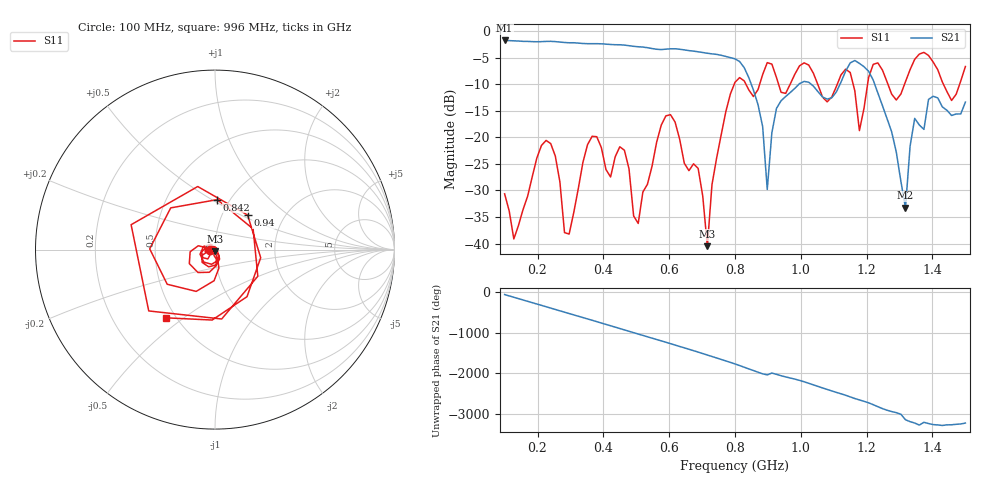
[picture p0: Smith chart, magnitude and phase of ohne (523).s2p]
! NanoVNA-App
! Date: 2025-09-25 14:24:52
! Start: 100MHz Stop: 1,5GHz Points: 101
! S-Parameter data: F S11 S21 S12 S22
# Hz S RI R 50
!  Frequency  S11_Real  S11_Imag  S21_Real  S21_Imag  S12_Real  S12_Imag  S22_Real  S22_Imag
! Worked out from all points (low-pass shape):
!   101 points, 100 MHz to 1.5 GHz, reference 50 ohm
!   highest |S21| = -1.79 dB at 100 MHz (marker M1); lowest = -33.3 dB at 1.318 GHz (marker M2)
!   |S21| within 3 dB of the highest: start of sweep to 771.6 MHz
!   lowest |S11| = -40.5 dB at 716 MHz (marker M3), VSWR 1.02, Z = 49.8 - j0.933 ohm
!   |S11| at or under -10 dB: start of sweep to 797.8 MHz; 833 MHz to 875.1 MHz (42.12 MHz wide, 4.93 % of centre); 1.051 GHz to 1.111 GHz (59.68 MHz wide, 5.52 % of centre) (the widest 3 of 7)
!   S12 and S22 are empty: the file has one direction only
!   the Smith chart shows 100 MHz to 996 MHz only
!   S11 on the Smith chart (normalised r, x): 100 MHz: 0.94, -0.01; 842 MHz: 0.88, +0.53; 940 MHz: 1.32, +0.55; 996 MHz: 0.44, -0.43
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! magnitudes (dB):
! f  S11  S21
! 100 MHz  -30.6  -1.8
! 128 MHz  -39.1  -1.9
! 226 MHz  -20.6  -2.0
! 296 MHz  -38.2  -2.2
! 338 MHz  -24.7  -2.4
! 464 MHz  -22.4  -2.7
! 506 MHz  -36.2  -3.0
! 576 MHz  -17.7  -3.5
! 688 MHz  -25.9  -3.9
! 716 MHz  -40.5  -4.2
! 800 MHz  -9.7  -5.3
! 842 MHz  -11.1  -8.8
! 898 MHz  -6.0  -29.8
! 940 MHz  -11.5  -13.1
! 996 MHz  -6.6  -9.9
! 1.038 GHz  -7.9  -10.4
! 1.164 GHz  -11.3  -5.6
! 1.178 GHz  -18.8  -6.1
! 1.276 GHz  -11.9  -19.0
! 1.318 GHz  -9.5  -33.3
! 1.346 GHz  -5.3  -16.5
! 1.5 GHz  -6.7  -13.4
